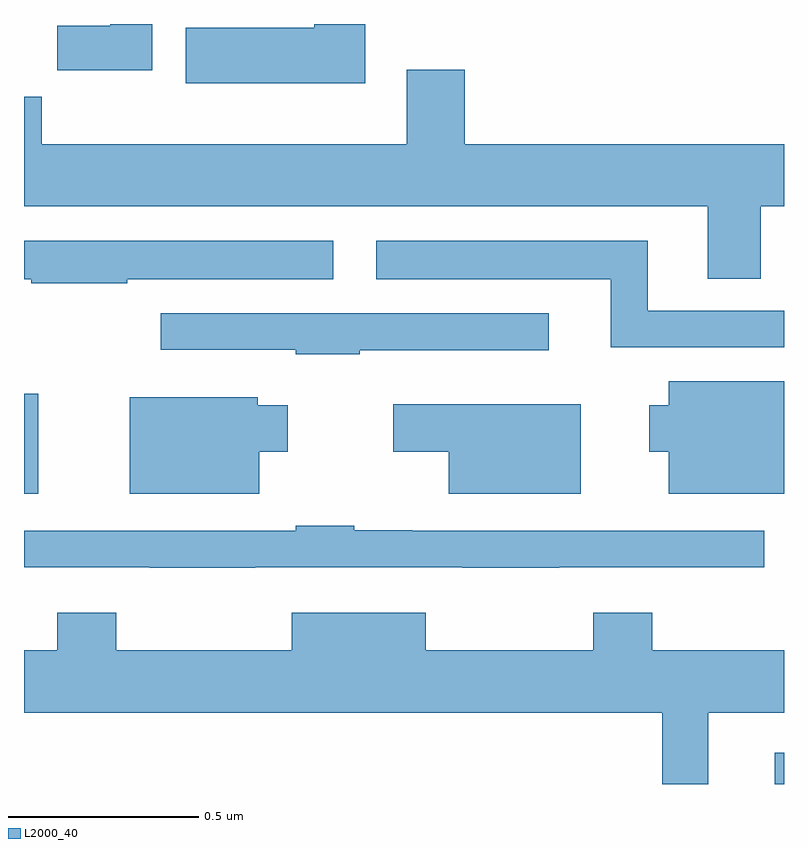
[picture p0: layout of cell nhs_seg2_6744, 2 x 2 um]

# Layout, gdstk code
import gdstk
lib = gdstk.Library(unit=1e-6, precision=1e-09)
def R(c, l, rs):  # rectangles x0, y0, x1, y1
    for r in rs: c.add(gdstk.rectangle(r[:2], r[2:], *l))
def P(c, l, *ps):  # polygons
    for p in ps: c.add(gdstk.Polygon(p, *l))
L2000_40 = (2000, 40)

nhs_seg2_6744 = lib.new_cell('nhs_seg2_6744')
R(nhs_seg2_6744, L2000_40, [(196.976,628.8,197,628.882), (195,629.564,195.037,629.827)])
P(nhs_seg2_6744, L2000_40, [(195.337,630.8),(195.227,630.8),(195.227,630.796),(195.088,630.796),(195.088,630.678),(195.337,630.678)],
  [(195.898,630.8),(195.764,630.8),(195.764,630.79),(195.425,630.79),(195.425,630.644),(195.898,630.644)],
  [(196.939,630.32),(197,630.32),(197,630.484),(196.16,630.484),(196.16,630.679),(196.007,630.679),(196.007,630.484),(195.047,630.484),(195.047,630.608),(195,630.608),(195,630.32),(196.799,630.32),(196.799,630.13),(196.939,630.13)],
  [(197,630.045),(196.642,630.045),(196.642,630.229),(195.927,630.229),(195.927,630.128),(196.544,630.128),(196.544,629.949),(197,629.949)],
  [(195.272,630.128),(195.814,630.128),(195.814,630.229),(195,630.229),(195,630.128),(195.019,630.128),(195.019,630.118),(195.272,630.118)],
  [(195.884,629.942),(196.381,629.942),(196.381,630.039),(195.36,630.039),(195.36,629.943),(195.715,629.943),(195.715,629.931),(195.884,629.931)],
  [(197,629.86),(196.697,629.86),(196.697,629.797),(196.646,629.797),(196.646,629.675),(196.697,629.675),(196.697,629.564),(197,629.564)],
  [(195.619,629.675),(195.694,629.675),(195.694,629.797),(195.615,629.797),(195.615,629.818),(195.278,629.818),(195.278,629.564),(195.619,629.564)],
  [(196.465,629.8),(195.972,629.8),(195.972,629.675),(196.118,629.675),(196.118,629.564),(196.465,629.564)],
  [(195.608,629.37),(196.153,629.37),(196.153,629.369),(196.409,629.369),(196.409,629.37),(196.948,629.37),(196.948,629.466),(196.022,629.466),(196.022,629.468),(195.869,629.468),(195.869,629.479),(195.715,629.479),(195.715,629.466),(195,629.466),(195,629.37),(195.331,629.37),(195.331,629.369),(195.608,629.369)],
  [(196.801,628.988),(197,628.988),(197,629.152),(196.653,629.152),(196.653,629.251),(196.498,629.251),(196.498,629.152),(196.057,629.152),(196.057,629.251),(195.704,629.251),(195.704,629.152),(195.243,629.152),(195.243,629.251),(195.088,629.251),(195.088,629.152),(195,629.152),(195,628.988),(196.68,628.988),(196.68,628.8),(196.801,628.8)])

lib.write_gds('nhs_seg2_6744.gds')
